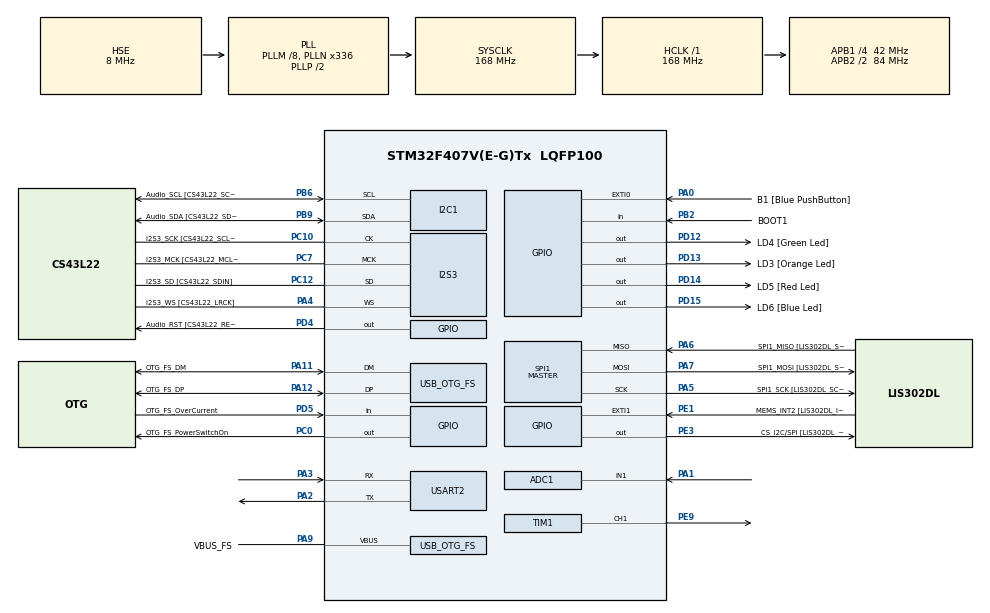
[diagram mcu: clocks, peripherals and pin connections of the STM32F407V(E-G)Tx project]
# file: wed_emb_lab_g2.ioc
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ADC1.Channel-12\#ChannelRegularConversion=ADC_CHANNEL_1
ADC1.ClockPrescaler=ADC_CLOCK_SYNC_PCLK_DIV4
ADC1.ContinuousConvMode=DISABLE
ADC1.DMAContinuousRequests=DISABLE
ADC1.DataAlign=ADC_DATAALIGN_RIGHT
ADC1.DiscontinuousConvMode=DISABLE
ADC1.EOCSelection=ADC_EOC_SINGLE_CONV
ADC1.EnableAnalogWatchDog=false
ADC1.ExternalTrigConv=ADC_SOFTWARE_START
ADC1.ExternalTrigConvEdge=ADC_EXTERNALTRIGCONVEDGE_NONE
ADC1.InjNumberOfConversion=0
ADC1.NbrOfConversion=1
ADC1.NbrOfConversionFlag=1
ADC1.Rank-12\#ChannelRegularConversion=1
ADC1.Resolution=ADC_RESOLUTION_12B
ADC1.SamplingTime-12\#ChannelRegularConversion=ADC_SAMPLETIME_3CYCLES
ADC1.ScanConvMode=DISABLE
ADC1.master=1
FREERTOS.Tasks01=defaultTask,0,128,StartDefaultTask,Default,NULL
I2S3.AudioFreq-Half_Duplex_Master=I2S_AUDIOFREQ_96K
I2S3.ErrorAudioFreq=-2.34 %
I2S3.ErrorAudioFreq-Half_Duplex_Master=0.8 %
I2S3.FullDuplexMode=I2S_FULLDUPLEXMODE_DISABLE
I2S3.Instance=SPI$Index
I2S3.RealAudioFreq=93.75 KHz
I2S3.RealAudioFreq-Half_Duplex_Master=96.774 KHz
I2S3.VirtualMode=I2S_MODE_MASTER
Mcu.Family=STM32F4
Mcu.Name=STM32F407V(E-G)Tx
Mcu.Package=LQFP100
NVIC.OTG_FS_IRQn=true\:5\:0\:false\:false\:true\:true\:true
NVIC.PriorityGroup=NVIC_PRIORITYGROUP_4
PA0-WKUP.GPIO_Label=B1 [Blue PushButton]
PA0-WKUP.GPIO_ModeDefaultEXTI=GPIO_MODE_EVT_RISING
PA0-WKUP.GPIO_PuPd=GPIO_NOPULL
PA0-WKUP.Signal=GPXTI0
PA1.Signal=ADCx_IN1
PA10.GPIO_Label=OTG_FS_ID
PA10.GPIO_Mode=GPIO_MODE_AF_PP
PA10.GPIO_PuPd=GPIO_NOPULL
PA10.GPIO_Speed=GPIO_SPEED_FREQ_LOW
PA10.Signal=USB_OTG_FS_ID
PA11.GPIO_Label=OTG_FS_DM
PA11.GPIO_Mode=GPIO_MODE_AF_PP
PA11.GPIO_PuPd=GPIO_NOPULL
PA11.GPIO_Speed=GPIO_SPEED_FREQ_LOW
PA11.Mode=Host_Only
PA11.Signal=USB_OTG_FS_DM
PA12.GPIO_Label=OTG_FS_DP
PA12.GPIO_Mode=GPIO_MODE_AF_PP
PA12.GPIO_PuPd=GPIO_NOPULL
PA12.GPIO_Speed=GPIO_SPEED_FREQ_LOW
PA12.Mode=Host_Only
PA12.Signal=USB_OTG_FS_DP
PA13.GPIO_Label=SWDIO
PA13.Mode=Serial_Wire
PA13.Signal=SYS_JTMS-SWDIO
PA14.GPIO_Label=SWCLK
PA14.Mode=Serial_Wire
PA14.Signal=SYS_JTCK-SWCLK
PA2.Mode=Asynchronous
PA2.Signal=USART2_TX
PA3.Mode=Asynchronous
PA3.Signal=USART2_RX
PA4.GPIO_Label=I2S3_WS [CS43L22_LRCK]
PA4.GPIO_Mode=GPIO_MODE_AF_PP
PA4.GPIO_PuPd=GPIO_NOPULL
PA4.GPIO_Speed=GPIO_SPEED_FREQ_LOW
PA4.Mode=Half_Duplex_Master
PA4.Signal=I2S3_WS
PA5.GPIO_Label=SPI1_SCK [LIS302DL_SCL/SPC]
PA5.GPIO_Mode=GPIO_MODE_AF_PP
PA5.GPIO_PuPd=GPIO_NOPULL
PA5.GPIO_Speed=GPIO_SPEED_FREQ_LOW
PA5.Mode=Full_Duplex_Master
PA5.Signal=SPI1_SCK
PA6.GPIO_Label=SPI1_MISO [LIS302DL_SDO]
PA6.GPIO_Mode=GPIO_MODE_AF_PP
PA6.GPIO_PuPd=GPIO_NOPULL
PA6.GPIO_Speed=GPIO_SPEED_FREQ_LOW
PA6.Mode=Full_Duplex_Master
PA6.Signal=SPI1_MISO
PA7.GPIO_Label=SPI1_MOSI [LIS302DL_SDA/SDI/SDO]
PA7.GPIO_Mode=GPIO_MODE_AF_PP
PA7.GPIO_PuPd=GPIO_NOPULL
PA7.GPIO_Speed=GPIO_SPEED_FREQ_LOW
PA7.Mode=Full_Duplex_Master
PA7.Signal=SPI1_MOSI
PA9.GPIO_Label=VBUS_FS
PA9.GPIO_Mode=GPIO_MODE_INPUT
PA9.GPIO_PuPd=GPIO_NOPULL
PA9.Mode=Activate_VBUS
PA9.Signal=USB_OTG_FS_VBUS
PB10.GPIO_Label=CLK_IN [MP45DT02_CLK]
PB10.GPIO_Mode=GPIO_MODE_AF_PP
PB10.GPIO_PuPd=GPIO_NOPULL
PB10.GPIO_Speed=GPIO_SPEED_FREQ_LOW
PB10.Signal=I2S2_CK
PB2.GPIO_Label=BOOT1
PB2.GPIO_Mode=GPIO_MODE_INPUT
PB2.GPIO_PuPd=GPIO_NOPULL
PB2.Signal=GPIO_Input
PB3.GPIO_Label=SWO
PB3.Signal=SYS_JTDO-SWO
PB6.GPIO_Label=Audio_SCL [CS43L22_SCL]
PB6.GPIO_Mode=GPIO_MODE_AF_OD
PB6.GPIO_PuPd=GPIO_NOPULL
PB6.GPIO_Speed=GPIO_SPEED_FREQ_LOW
PB6.Mode=I2C
PB6.Signal=I2C1_SCL
PB9.GPIO_Label=Audio_SDA [CS43L22_SDA]
PB9.GPIO_Mode=GPIO_MODE_AF_OD
PB9.GPIO_PuPd=GPIO_NOPULL
PB9.GPIO_Speed=GPIO_SPEED_FREQ_LOW
PB9.Mode=I2C
PB9.Signal=I2C1_SDA
PC0.GPIO_Label=OTG_FS_PowerSwitchOn
PC0.GPIO_PuPd=GPIO_NOPULL
PC0.GPIO_Speed=GPIO_SPEED_FREQ_LOW
PC0.PinState=GPIO_PIN_SET
PC0.Signal=GPIO_Output
PC10.GPIO_Label=I2S3_SCK [CS43L22_SCLK]
PC10.GPIO_Mode=GPIO_MODE_AF_PP
PC10.GPIO_PuPd=GPIO_NOPULL
PC10.GPIO_Speed=GPIO_SPEED_FREQ_LOW
PC10.Mode=Half_Duplex_Master
PC10.Signal=I2S3_CK
PC12.GPIO_Label=I2S3_SD [CS43L22_SDIN]
PC12.GPIO_Mode=GPIO_MODE_AF_PP
PC12.GPIO_PuPd=GPIO_NOPULL
PC12.GPIO_Speed=GPIO_SPEED_FREQ_LOW
PC12.Mode=Half_Duplex_Master
PC12.Signal=I2S3_SD
PC14-OSC32_IN.GPIO_Label=PC14-OSC32_IN
PC14-OSC32_IN.Mode=LSE-External-Oscillator
PC14-OSC32_IN.Signal=RCC_OSC32_IN
PC15-OSC32_OUT.GPIO_Label=PC15-OSC32_OUT
PC15-OSC32_OUT.Mode=LSE-External-Oscillator
PC15-OSC32_OUT.Signal=RCC_OSC32_OUT
PC3.GPIO_Label=PDM_OUT [MP45DT02_DOUT]
PC3.GPIO_Mode=GPIO_MODE_AF_PP
PC3.GPIO_PuPd=GPIO_NOPULL
PC3.GPIO_Speed=GPIO_SPEED_FREQ_LOW
PC3.Signal=I2S2_SD
PC7.GPIO_Label=I2S3_MCK [CS43L22_MCLK]
PC7.GPIO_Mode=GPIO_MODE_AF_PP
PC7.GPIO_PuPd=GPIO_NOPULL
PC7.GPIO_Speed=GPIO_SPEED_FREQ_LOW
PC7.Mode=Master_Clock_Activated
PC7.Signal=I2S3_MCK
PD12.GPIO_Label=LD4 [Green Led]
PD12.GPIO_PuPd=GPIO_NOPULL
PD12.GPIO_Speed=GPIO_SPEED_FREQ_LOW
PD12.Signal=GPIO_Output
PD13.GPIO_Label=LD3 [Orange Led]
PD13.GPIO_PuPd=GPIO_NOPULL
PD13.GPIO_Speed=GPIO_SPEED_FREQ_LOW
PD13.Signal=GPIO_Output
PD14.GPIO_Label=LD5 [Red Led]
PD14.GPIO_PuPd=GPIO_NOPULL
PD14.GPIO_Speed=GPIO_SPEED_FREQ_LOW
PD14.Signal=GPIO_Output
PD15.GPIO_Label=LD6 [Blue Led]
PD15.GPIO_PuPd=GPIO_NOPULL
PD15.GPIO_Speed=GPIO_SPEED_FREQ_LOW
PD15.Signal=GPIO_Output
PD4.GPIO_Label=Audio_RST [CS43L22_RESET]
PD4.GPIO_PuPd=GPIO_NOPULL
PD4.GPIO_Speed=GPIO_SPEED_FREQ_LOW
PD4.Signal=GPIO_Output
PD5.GPIO_Label=OTG_FS_OverCurrent
PD5.GPIO_Mode=GPIO_MODE_INPUT
PD5.GPIO_PuPd=GPIO_NOPULL
PD5.Signal=GPIO_Input
PE1.GPIO_Label=MEMS_INT2 [LIS302DL_INT2]
PE1.GPIO_ModeDefaultEXTI=GPIO_MODE_EVT_RISING
PE1.GPIO_PuPd=GPIO_NOPULL
PE1.Signal=GPXTI1
PE3.GPIO_Label=CS_I2C/SPI [LIS302DL_CS_I2C/SPI]
PE3.GPIO_PuPd=GPIO_NOPULL
PE3.GPIO_Speed=GPIO_SPEED_FREQ_LOW
PE3.Signal=GPIO_Output
PE9.Signal=S_TIM1_CH1
PH0-OSC_IN.GPIO_Label=PH0-OSC_IN
PH0-OSC_IN.Mode=HSE-External-Oscillator
PH0-OSC_IN.Signal=RCC_OSC_IN
PH1-OSC_OUT.GPIO_Label=PH1-OSC_OUT
PH1-OSC_OUT.Mode=HSE-External-Oscillator
PH1-OSC_OUT.Signal=RCC_OSC_OUT
ProjectManager.HeapSize=0x200
ProjectManager.StackSize=0x400
ProjectManager.TargetToolchain=SW4STM32
RCC.48MHZClocksFreq_Value=48000000
RCC.AHBFreq_Value=168000000
RCC.APB1CLKDivider=RCC_HCLK_DIV4
RCC.APB1Freq_Value=42000000
RCC.APB1TimFreq_Value=84000000
RCC.APB2CLKDivider=RCC_HCLK_DIV2
RCC.APB2Freq_Value=84000000
RCC.APB2TimFreq_Value=168000000
RCC.CortexFreq_Value=168000000
RCC.HCLKFreq_Value=168000000
RCC.HSE_VALUE=8000000
RCC.HSI_VALUE=16000000
RCC.PLLM=8
RCC.PLLN=336
RCC.PLLQ=7
RCC.SYSCLKFreq_VALUE=168000000
RCC.SYSCLKSource=RCC_SYSCLKSOURCE_PLLCLK
RCC.VCOOutputFreq_Value=336000000
SH.ADCx_IN1.0=ADC1_IN1,IN1
SH.S_TIM1_CH1.0=TIM1_CH1,PWM Generation1 CH1
SPI1.BaudRatePrescaler-Full_Duplex_Master=SPI_BAUDRATEPRESCALER_2
SPI1.CalculateBaudRate-Full_Duplex_Master=42.0 MBits/s
SPI1.Direction=SPI_DIRECTION_2LINES
SPI1.Mode=SPI_MODE_MASTER
SPI1.Mode-Full_Duplex_Master=SPI_MODE_MASTER
SPI1.VirtualType=VM_MASTER
TIM1.Channel-PWM\ Generation1\ CH1=TIM_CHANNEL_1
TIM1.Period=10000
TIM1.Prescaler=335
TIM1.Pulse-PWM\ Generation1\ CH1=300
USART2.VirtualMode=VM_ASYNC
USB_HOST.BSP.number=1
USB_HOST.USBH_HandleTypeDef-CDC_FS=hUsbHostFS
USB_HOST.VirtualModeFS=Cdc
USB_HOST0.BSP.STBoard=false
USB_HOST0.BSP.api=Unknown
USB_HOST0.BSP.i2caddr=0
USB_HOST0.BSP.i2creg=0
USB_HOST0.BSP.instance=PC0
USB_HOST0.BSP.ip=GPIO
USB_HOST0.BSP.mode=Output
USB_HOST0.BSP.name=Drive_VBUS_FS
USB_HOST0.BSP.solution=PC0
USB_OTG_FS.VirtualMode=Host_Only
USB_OTG_FS.phy_itface=HCD_PHY_EMBEDDED
VP_FREERTOS_VS_ENABLE.Mode=Enabled
VP_RTC_VS_RTC_Activate.Mode=RTC_Enabled
VP_RTC_VS_RTC_Calendar.Mode=RTC_Calendar
VP_TIM1_VS_ClockSourceINT.Mode=Internal
VP_USB_HOST_VS_USB_HOST_CDC_FS.Mode=CDC_FS
board=STM32F4DISCOVERY

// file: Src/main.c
/**
 ******************************************************************************
 * @file           : main.c
 * @brief          : Main program body
 ******************************************************************************
 * This notice applies to any and all portions of this file
 * that are not between comment pairs USER CODE BEGIN and
 * USER CODE END. Other portions of this file, whether
 * inserted by the user or by software development tools
 * are owned by their respective copyright owners.
 *
 * Copyright (c) 2018 STMicroelectronics International N.V.
 * All rights reserved.
 *
 * Redistribution and use in source and binary forms, with or without
 * modification, are permitted, provided that the following conditions are met:
 *
 * 1. Redistribution of source code must retain the above copyright notice,
 *    this list of conditions and the following disclaimer.
 * 2. Redistributions in binary form must reproduce the above copyright notice,
 *    this list of conditions and the following disclaimer in the documentation
 *    and/or other materials provided with the distribution.
 * 3. Neither the name of STMicroelectronics nor the names of other
 *    contributors to this software may be used to endorse or promote products
 *    derived from this software without specific written permission.
 * 4. This software, including modifications and/or derivative works of this
 *    software, must execute solely and exclusively on microcontroller or
 *    microprocessor devices manufactured by or for STMicroelectronics.
 * 5. Redistribution and use of this software other than as permitted under
 *    this license is void and will automatically terminate your rights under
 *    this license.
 *
 * THIS SOFTWARE IS PROVIDED BY STMICROELECTRONICS AND CONTRIBUTORS "AS IS"
 * AND ANY EXPRESS, IMPLIED OR STATUTORY WARRANTIES, INCLUDING, BUT NOT
 * LIMITED TO, THE IMPLIED WARRANTIES OF MERCHANTABILITY, FITNESS FOR A
 * PARTICULAR PURPOSE AND NON-INFRINGEMENT OF THIRD PARTY INTELLECTUAL PROPERTY
 * RIGHTS ARE DISCLAIMED TO THE FULLEST EXTENT PERMITTED BY LAW. IN NO EVENT
 * SHALL STMICROELECTRONICS OR CONTRIBUTORS BE LIABLE FOR ANY DIRECT, INDIRECT,
 * INCIDENTAL, SPECIAL, EXEMPLARY, OR CONSEQUENTIAL DAMAGES (INCLUDING, BUT NOT
 * LIMITED TO, PROCUREMENT OF SUBSTITUTE GOODS OR SERVICES; LOSS OF USE, DATA,
 * OR PROFITS; OR BUSINESS INTERRUPTION) HOWEVER CAUSED AND ON ANY THEORY OF
 * LIABILITY, WHETHER IN CONTRACT, STRICT LIABILITY, OR TORT (INCLUDING
 * NEGLIGENCE OR OTHERWISE) ARISING IN ANY WAY OUT OF THE USE OF THIS SOFTWARE,
 * EVEN IF ADVISED OF THE POSSIBILITY OF SUCH DAMAGE.
 *
 ******************************************************************************
 */
#include "main.h"
#include "stm32f4xx_hal.h"
#include "cmsis_os.h"
#include "usb_host.h"

ADC_HandleTypeDef hadc1;

I2C_HandleTypeDef hi2c1;

I2S_HandleTypeDef hi2s3;

RTC_HandleTypeDef hrtc;

SPI_HandleTypeDef hspi1;

TIM_HandleTypeDef htim1;

UART_HandleTypeDef huart2;

osThreadId defaultTaskHandle;

/* USER CODE BEGIN PV */
/* Private variables ---------------------------------------------------------*/

/* USER CODE END PV */

void SystemClock_Config(void);
static void MX_GPIO_Init(void);
static void MX_I2C1_Init(void);
static void MX_I2S3_Init(void);
static void MX_SPI1_Init(void);
static void MX_USART2_UART_Init(void);
static void MX_RTC_Init(void);
static void MX_TIM1_Init(void);
static void MX_ADC1_Init(void);
void StartDefaultTask(void const * argument);

void HAL_TIM_MspPostInit(TIM_HandleTypeDef *htim);

/* USER CODE BEGIN PFP */
/* Private function prototypes -----------------------------------------------*/

/* USER CODE END PFP */

int main(void) {

	/* MCU Configuration----------------------------------------------------------*/

	/* Reset of all peripherals, Initializes the Flash interface and the Systick. */
	HAL_Init();

	/* Configure the system clock */
	SystemClock_Config();

	/* Initialize all configured peripherals */
	MX_GPIO_Init();
	MX_I2C1_Init();
	MX_I2S3_Init();
	MX_SPI1_Init();
	MX_USART2_UART_Init();
	MX_RTC_Init();
	MX_TIM1_Init();
	MX_ADC1_Init();

	/* Create the thread(s) */
	/* definition and creation of defaultTask */
	osThreadDef(defaultTask, StartDefaultTask, osPriorityNormal, 0, 128);
	defaultTaskHandle = osThreadCreate(osThread(defaultTask), NULL);

	/* Start scheduler */
	osKernelStart();

	/* We should never get here as control is now taken by the scheduler */

	/* Infinite loop */
	while (1) {

	}

}

void SystemClock_Config(void) {

	RCC_OscInitTypeDef RCC_OscInitStruct;
	RCC_ClkInitTypeDef RCC_ClkInitStruct;
	RCC_PeriphCLKInitTypeDef PeriphClkInitStruct;

	/**Configure the main internal regulator output voltage
	 */
	__HAL_RCC_PWR_CLK_ENABLE()
	;

	__HAL_PWR_VOLTAGESCALING_CONFIG(PWR_REGULATOR_VOLTAGE_SCALE1);

	/**Initializes the CPU, AHB and APB busses clocks
	 */
	RCC_OscInitStruct.OscillatorType = RCC_OSCILLATORTYPE_LSI
			| RCC_OSCILLATORTYPE_HSE;
	RCC_OscInitStruct.HSEState = RCC_HSE_ON;
	RCC_OscInitStruct.LSIState = RCC_LSI_ON;
	RCC_OscInitStruct.PLL.PLLState = RCC_PLL_ON;
	RCC_OscInitStruct.PLL.PLLSource = RCC_PLLSOURCE_HSE;
	RCC_OscInitStruct.PLL.PLLM = 8;
	RCC_OscInitStruct.PLL.PLLN = 336;
	RCC_OscInitStruct.PLL.PLLP = RCC_PLLP_DIV2;
	RCC_OscInitStruct.PLL.PLLQ = 7;
	if (HAL_RCC_OscConfig(&RCC_OscInitStruct) != HAL_OK) {
		_Error_Handler(__FILE__, __LINE__);
	}

	/**Initializes the CPU, AHB and APB busses clocks
	 */
	RCC_ClkInitStruct.ClockType = RCC_CLOCKTYPE_HCLK | RCC_CLOCKTYPE_SYSCLK
			| RCC_CLOCKTYPE_PCLK1 | RCC_CLOCKTYPE_PCLK2;
	RCC_ClkInitStruct.SYSCLKSource = RCC_SYSCLKSOURCE_PLLCLK;
	RCC_ClkInitStruct.AHBCLKDivider = RCC_SYSCLK_DIV1;
	RCC_ClkInitStruct.APB1CLKDivider = RCC_HCLK_DIV4;
	RCC_ClkInitStruct.APB2CLKDivider = RCC_HCLK_DIV2;

	if (HAL_RCC_ClockConfig(&RCC_ClkInitStruct, FLASH_LATENCY_5) != HAL_OK) {
		_Error_Handler(__FILE__, __LINE__);
	}

	PeriphClkInitStruct.PeriphClockSelection = RCC_PERIPHCLK_I2S
			| RCC_PERIPHCLK_RTC;
	PeriphClkInitStruct.PLLI2S.PLLI2SN = 192;
	PeriphClkInitStruct.PLLI2S.PLLI2SR = 2;
	PeriphClkInitStruct.RTCClockSelection = RCC_RTCCLKSOURCE_LSI;
	if (HAL_RCCEx_PeriphCLKConfig(&PeriphClkInitStruct) != HAL_OK) {
		_Error_Handler(__FILE__, __LINE__);
	}

	/**Configure the Systick interrupt time
	 */
	HAL_SYSTICK_Config(HAL_RCC_GetHCLKFreq() / 1000);

	/**Configure the Systick
	 */
	HAL_SYSTICK_CLKSourceConfig(SYSTICK_CLKSOURCE_HCLK);

	/* SysTick_IRQn interrupt configuration */
	HAL_NVIC_SetPriority(SysTick_IRQn, 15, 0);
}

/* ADC1 init function */
static void MX_ADC1_Init(void) {

	ADC_ChannelConfTypeDef sConfig;

	/**Configure the global features of the ADC (Clock, Resolution, Data Alignment and number of conversion)
	 */
	hadc1.Instance = ADC1;
	hadc1.Init.ClockPrescaler = ADC_CLOCK_SYNC_PCLK_DIV4;
	hadc1.Init.Resolution = ADC_RESOLUTION_12B;
	hadc1.Init.ScanConvMode = DISABLE;
	hadc1.Init.ContinuousConvMode = DISABLE;
	hadc1.Init.DiscontinuousConvMode = DISABLE;
	hadc1.Init.ExternalTrigConvEdge = ADC_EXTERNALTRIGCONVEDGE_NONE;
	hadc1.Init.ExternalTrigConv = ADC_SOFTWARE_START;
	hadc1.Init.DataAlign = ADC_DATAALIGN_RIGHT;
	hadc1.Init.NbrOfConversion = 1;
	hadc1.Init.DMAContinuousRequests = DISABLE;
	hadc1.Init.EOCSelection = ADC_EOC_SINGLE_CONV;
	if (HAL_ADC_Init(&hadc1) != HAL_OK) {
		_Error_Handler(__FILE__, __LINE__);
	}

	/**Configure for the selected ADC regular channel its corresponding rank in the sequencer and its sample time.
	 */
	sConfig.Channel = ADC_CHANNEL_1;
	sConfig.Rank = 1;
	sConfig.SamplingTime = ADC_SAMPLETIME_3CYCLES;
	if (HAL_ADC_ConfigChannel(&hadc1, &sConfig) != HAL_OK) {
		_Error_Handler(__FILE__, __LINE__);
	}

}

/* I2C1 init function */
static void MX_I2C1_Init(void) {

	hi2c1.Instance = I2C1;
	hi2c1.Init.ClockSpeed = 100000;
	hi2c1.Init.DutyCycle = I2C_DUTYCYCLE_2;
	hi2c1.Init.OwnAddress1 = 0;
	hi2c1.Init.AddressingMode = I2C_ADDRESSINGMODE_7BIT;
	hi2c1.Init.DualAddressMode = I2C_DUALADDRESS_DISABLE;
	hi2c1.Init.OwnAddress2 = 0;
	hi2c1.Init.GeneralCallMode = I2C_GENERALCALL_DISABLE;
	hi2c1.Init.NoStretchMode = I2C_NOSTRETCH_DISABLE;
	if (HAL_I2C_Init(&hi2c1) != HAL_OK) {
		_Error_Handler(__FILE__, __LINE__);
	}

}

/* I2S3 init function */
static void MX_I2S3_Init(void) {

	hi2s3.Instance = SPI3;
	hi2s3.Init.Mode = I2S_MODE_MASTER_TX;
	hi2s3.Init.Standard = I2S_STANDARD_PHILIPS;
	hi2s3.Init.DataFormat = I2S_DATAFORMAT_16B;
	hi2s3.Init.MCLKOutput = I2S_MCLKOUTPUT_ENABLE;
	hi2s3.Init.AudioFreq = I2S_AUDIOFREQ_96K;
	hi2s3.Init.CPOL = I2S_CPOL_LOW;
	hi2s3.Init.ClockSource = I2S_CLOCK_PLL;
	hi2s3.Init.FullDuplexMode = I2S_FULLDUPLEXMODE_DISABLE;
	if (HAL_I2S_Init(&hi2s3) != HAL_OK) {
		_Error_Handler(__FILE__, __LINE__);
	}

}

/* RTC init function */
static void MX_RTC_Init(void) {

	RTC_TimeTypeDef sTime;
	RTC_DateTypeDef sDate;

	/**Initialize RTC Only
	 */
	hrtc.Instance = RTC;
	hrtc.Init.HourFormat = RTC_HOURFORMAT_24;
	hrtc.Init.AsynchPrediv = 127;
	hrtc.Init.SynchPrediv = 255;
	hrtc.Init.OutPut = RTC_OUTPUT_DISABLE;
	hrtc.Init.OutPutPolarity = RTC_OUTPUT_POLARITY_HIGH;
	hrtc.Init.OutPutType = RTC_OUTPUT_TYPE_OPENDRAIN;
	if (HAL_RTC_Init(&hrtc) != HAL_OK) {
		_Error_Handler(__FILE__, __LINE__);
	}

	/**Initialize RTC and set the Time and Date
	 */
	sTime.Hours = 0x0;
	sTime.Minutes = 0x0;
	sTime.Seconds = 0x0;
	sTime.DayLightSaving = RTC_DAYLIGHTSAVING_NONE;
	sTime.StoreOperation = RTC_STOREOPERATION_RESET;
	if (HAL_RTC_SetTime(&hrtc, &sTime, RTC_FORMAT_BCD) != HAL_OK) {
		_Error_Handler(__FILE__, __LINE__);
	}

	sDate.WeekDay = RTC_WEEKDAY_MONDAY;
	sDate.Month = RTC_MONTH_JANUARY;
	sDate.Date = 0x1;
	sDate.Year = 0x0;

	if (HAL_RTC_SetDate(&hrtc, &sDate, RTC_FORMAT_BCD) != HAL_OK) {
		_Error_Handler(__FILE__, __LINE__);
	}

}

/* SPI1 init function */
static void MX_SPI1_Init(void) {

	/* SPI1 parameter configuration*/
	hspi1.Instance = SPI1;
	hspi1.Init.Mode = SPI_MODE_MASTER;
	hspi1.Init.Direction = SPI_DIRECTION_2LINES;
	hspi1.Init.DataSize = SPI_DATASIZE_8BIT;
	hspi1.Init.CLKPolarity = SPI_POLARITY_LOW;
	hspi1.Init.CLKPhase = SPI_PHASE_1EDGE;
	hspi1.Init.NSS = SPI_NSS_SOFT;
	hspi1.Init.BaudRatePrescaler = SPI_BAUDRATEPRESCALER_2;
	hspi1.Init.FirstBit = SPI_FIRSTBIT_MSB;
	hspi1.Init.TIMode = SPI_TIMODE_DISABLE;
	hspi1.Init.CRCCalculation = SPI_CRCCALCULATION_DISABLE;
	hspi1.Init.CRCPolynomial = 10;
	if (HAL_SPI_Init(&hspi1) != HAL_OK) {
		_Error_Handler(__FILE__, __LINE__);
	}

}

/* TIM1 init function */
static void MX_TIM1_Init(void) {

	TIM_ClockConfigTypeDef sClockSourceConfig;
	TIM_MasterConfigTypeDef sMasterConfig;
	TIM_OC_InitTypeDef sConfigOC;
	TIM_BreakDeadTimeConfigTypeDef sBreakDeadTimeConfig;

	htim1.Instance = TIM1;
	htim1.Init.Prescaler = 335;
	htim1.Init.CounterMode = TIM_COUNTERMODE_UP;
	htim1.Init.Period = 10000;
	htim1.Init.ClockDivision = TIM_CLOCKDIVISION_DIV1;
	htim1.Init.RepetitionCounter = 0;
	if (HAL_TIM_Base_Init(&htim1) != HAL_OK) {
		_Error_Handler(__FILE__, __LINE__);
	}

	sClockSourceConfig.ClockSource = TIM_CLOCKSOURCE_INTERNAL;
	if (HAL_TIM_ConfigClockSource(&htim1, &sClockSourceConfig) != HAL_OK) {
		_Error_Handler(__FILE__, __LINE__);
	}

	if (HAL_TIM_PWM_Init(&htim1) != HAL_OK) {
		_Error_Handler(__FILE__, __LINE__);
	}

	sMasterConfig.MasterOutputTrigger = TIM_TRGO_RESET;
	sMasterConfig.MasterSlaveMode = TIM_MASTERSLAVEMODE_DISABLE;
	if (HAL_TIMEx_MasterConfigSynchronization(&htim1, &sMasterConfig)
			!= HAL_OK) {
		_Error_Handler(__FILE__, __LINE__);
	}

	sConfigOC.OCMode = TIM_OCMODE_PWM1;
	sConfigOC.Pulse = 300;
	sConfigOC.OCPolarity = TIM_OCPOLARITY_HIGH;
	sConfigOC.OCNPolarity = TIM_OCNPOLARITY_HIGH;
	sConfigOC.OCFastMode = TIM_OCFAST_DISABLE;
	sConfigOC.OCIdleState = TIM_OCIDLESTATE_RESET;
	sConfigOC.OCNIdleState = TIM_OCNIDLESTATE_RESET;
	if (HAL_TIM_PWM_ConfigChannel(&htim1, &sConfigOC, TIM_CHANNEL_1)
			!= HAL_OK) {
		_Error_Handler(__FILE__, __LINE__);
	}

	sBreakDeadTimeConfig.OffStateRunMode = TIM_OSSR_DISABLE;
	sBreakDeadTimeConfig.OffStateIDLEMode = TIM_OSSI_DISABLE;
	sBreakDeadTimeConfig.LockLevel = TIM_LOCKLEVEL_OFF;
	sBreakDeadTimeConfig.DeadTime = 0;
	sBreakDeadTimeConfig.BreakState = TIM_BREAK_DISABLE;
	sBreakDeadTimeConfig.BreakPolarity = TIM_BREAKPOLARITY_HIGH;
	sBreakDeadTimeConfig.AutomaticOutput = TIM_AUTOMATICOUTPUT_DISABLE;
	if (HAL_TIMEx_ConfigBreakDeadTime(&htim1, &sBreakDeadTimeConfig)
			!= HAL_OK) {
		_Error_Handler(__FILE__, __LINE__);
	}

	HAL_TIM_MspPostInit(&htim1);

}

/* USART2 init function */
static void MX_USART2_UART_Init(void) {

	huart2.Instance = USART2;
	huart2.Init.BaudRate = 115200;
	huart2.Init.WordLength = UART_WORDLENGTH_8B;
	huart2.Init.StopBits = UART_STOPBITS_1;
	huart2.Init.Parity = UART_PARITY_NONE;
	huart2.Init.Mode = UART_MODE_TX_RX;
	huart2.Init.HwFlowCtl = UART_HWCONTROL_NONE;
	huart2.Init.OverSampling = UART_OVERSAMPLING_16;
	if (HAL_UART_Init(&huart2) != HAL_OK) {
		_Error_Handler(__FILE__, __LINE__);
	}

}

/** Configure pins as
 * Analog
 * Input
 * Output
 * EVENT_OUT
 * EXTI
 PC3   ------> I2S2_SD
 PB10   ------> I2S2_CK
 */
static void MX_GPIO_Init(void) {

	GPIO_InitTypeDef GPIO_InitStruct;

	/* GPIO Ports Clock Enable */
	__HAL_RCC_GPIOE_CLK_ENABLE()
	;
	__HAL_RCC_GPIOC_CLK_ENABLE()
	;
	__HAL_RCC_GPIOH_CLK_ENABLE()
	;
	__HAL_RCC_GPIOA_CLK_ENABLE()
	;
	__HAL_RCC_GPIOB_CLK_ENABLE()
	;
	__HAL_RCC_GPIOD_CLK_ENABLE()
	;

	/*Configure GPIO pin Output Level */
	HAL_GPIO_WritePin(CS_I2C_SPI_GPIO_Port, CS_I2C_SPI_Pin, GPIO_PIN_RESET);

	/*Configure GPIO pin Output Level */
	HAL_GPIO_WritePin(OTG_FS_PowerSwitchOn_GPIO_Port, OTG_FS_PowerSwitchOn_Pin,
			GPIO_PIN_SET);

	/*Configure GPIO pin Output Level */
	HAL_GPIO_WritePin(GPIOD,
	LD4_Pin | LD3_Pin | LD5_Pin | LD6_Pin | Audio_RST_Pin, GPIO_PIN_RESET);

	/*Configure GPIO pin : CS_I2C_SPI_Pin */
	GPIO_InitStruct.Pin = CS_I2C_SPI_Pin;
	GPIO_InitStruct.Mode = GPIO_MODE_OUTPUT_PP;
	GPIO_InitStruct.Pull = GPIO_NOPULL;
	GPIO_InitStruct.Speed = GPIO_SPEED_FREQ_LOW;
	HAL_GPIO_Init(CS_I2C_SPI_GPIO_Port, &GPIO_InitStruct);

	/*Configure GPIO pin : OTG_FS_PowerSwitchOn_Pin */
	GPIO_InitStruct.Pin = OTG_FS_PowerSwitchOn_Pin;
	GPIO_InitStruct.Mode = GPIO_MODE_OUTPUT_PP;
	GPIO_InitStruct.Pull = GPIO_NOPULL;
	GPIO_InitStruct.Speed = GPIO_SPEED_FREQ_LOW;
	HAL_GPIO_Init(OTG_FS_PowerSwitchOn_GPIO_Port, &GPIO_InitStruct);

	/*Configure GPIO pin : PDM_OUT_Pin */
	GPIO_InitStruct.Pin = PDM_OUT_Pin;
	GPIO_InitStruct.Mode = GPIO_MODE_AF_PP;
	GPIO_InitStruct.Pull = GPIO_NOPULL;
	GPIO_InitStruct.Speed = GPIO_SPEED_FREQ_LOW;
	GPIO_InitStruct.Alternate = GPIO_AF5_SPI2;
	HAL_GPIO_Init(PDM_OUT_GPIO_Port, &GPIO_InitStruct);

	/*Configure GPIO pin : B1_Pin */
	GPIO_InitStruct.Pin = B1_Pin;
	GPIO_InitStruct.Mode = GPIO_MODE_EVT_RISING;
	GPIO_InitStruct.Pull = GPIO_NOPULL;
	HAL_GPIO_Init(B1_GPIO_Port, &GPIO_InitStruct);

	/*Configure GPIO pin : BOOT1_Pin */
	GPIO_InitStruct.Pin = BOOT1_Pin;
	GPIO_InitStruct.Mode = GPIO_MODE_INPUT;
	GPIO_InitStruct.Pull = GPIO_NOPULL;
	HAL_GPIO_Init(BOOT1_GPIO_Port, &GPIO_InitStruct);

	/*Configure GPIO pin : CLK_IN_Pin */
	GPIO_InitStruct.Pin = CLK_IN_Pin;
	GPIO_InitStruct.Mode = GPIO_MODE_AF_PP;
	GPIO_InitStruct.Pull = GPIO_NOPULL;
	GPIO_InitStruct.Speed = GPIO_SPEED_FREQ_LOW;
	GPIO_InitStruct.Alternate = GPIO_AF5_SPI2;
	HAL_GPIO_Init(CLK_IN_GPIO_Port, &GPIO_InitStruct);

	/*Configure GPIO pins : LD4_Pin LD3_Pin LD5_Pin LD6_Pin
	 Audio_RST_Pin */
	GPIO_InitStruct.Pin = LD4_Pin | LD3_Pin | LD5_Pin | LD6_Pin | Audio_RST_Pin;
	GPIO_InitStruct.Mode = GPIO_MODE_OUTPUT_PP;
	GPIO_InitStruct.Pull = GPIO_NOPULL;
	GPIO_InitStruct.Speed = GPIO_SPEED_FREQ_LOW;
	HAL_GPIO_Init(GPIOD, &GPIO_InitStruct);

	/*Configure GPIO pin : OTG_FS_OverCurrent_Pin */
	GPIO_InitStruct.Pin = OTG_FS_OverCurrent_Pin;
	GPIO_InitStruct.Mode = GPIO_MODE_INPUT;
	GPIO_InitStruct.Pull = GPIO_NOPULL;
	HAL_GPIO_Init(OTG_FS_OverCurrent_GPIO_Port, &GPIO_InitStruct);

	/*Configure GPIO pin : MEMS_INT2_Pin */
	GPIO_InitStruct.Pin = MEMS_INT2_Pin;
	GPIO_InitStruct.Mode = GPIO_MODE_EVT_RISING;
	GPIO_InitStruct.Pull = GPIO_NOPULL;
	HAL_GPIO_Init(MEMS_INT2_GPIO_Port, &GPIO_InitStruct);

}

/* USER CODE BEGIN 4 */
int cmp = 300;
int dirt_dry = 0; //0-4095
int wet_to_water = 99;
int th = 24, tm = 0;
int pass_sec = 0;
int t_sec = 0;
int ah = 1, at = 1;
int watering = 0;
int W = 0;
char last = 'F';
void uart() {
	char buf[20];
	uint16_t adc = 0;
	for (;;) {
		HAL_ADC_Start(&hadc1);
		if (HAL_ADC_PollForConversion(&hadc1, 1000) == HAL_OK) {
			adc = HAL_ADC_GetValue(&hadc1);
		}
		dirt_dry = adc;
		if (HAL_UART_Receive(&huart2, buf, 1, 100) == HAL_OK) {
			if (buf[0] == '.') {
				__HAL_TIM_SET_COMPARE(&htim1, TIM_CHANNEL_1, 0);
			} else if (buf[0] == 'f') {
				W = 1;
			} else if (buf[0] == 'l') {
				char v[20];
				int vn = 0;
				while (1) {
					if (HAL_UART_Receive(&huart2, buf, 1, 100) == HAL_OK) {
						if (buf[0] == ' ') {
							v[vn] = 0;
							break;
						}
						v[vn++] = buf[0];
					}
				}
				sscanf(v, "%d", &wet_to_water);
			} else if (buf[0] == 'h') {
				char v[20];
				int vn = 0;
				while (1) {
					if (HAL_UART_Receive(&huart2, buf, 1, 100) == HAL_OK) {
						if (buf[0] == ' ') {
							v[vn] = 0;
							break;
						}
						v[vn++] = buf[0];
					}
				}
				sscanf(v, "%d", &th);
			} else if (buf[0] == 'm') {
				char v[20];
				int vn = 0;
				while (1) {
					if (HAL_UART_Receive(&huart2, buf, 1, 100) == HAL_OK) {
						if (buf[0] == ' ') {
							v[vn] = 0;
							break;
						}
						v[vn++] = buf[0];
					}
				}
				sscanf(v, "%d", &tm);
			} else if (buf[0] == 'a') {
				if (HAL_UART_Receive(&huart2, buf, 2, 100) == HAL_OK) {
					if (buf[0] == 'h') {
						ah = buf[1] - '0';
					} else {
						at = buf[1] - '0';
					}
				}
			}
		}

		if (W == 1 && last != 'W') {
			buf[0] = 'W';
			HAL_UART_Transmit(&huart2, buf, 1, 100);
			last = 'W';
		} else if (W == 0 && last != 'F') {
			buf[0] = 'F';
			HAL_UART_Transmit(&huart2, buf, 1, 100);
			last = 'F';
		}

		if (t_sec >= 2) {
			t_sec = 0;
			int len = sprintf(buf, "%d+%d+%d+%d+%d+%d+%d ",
					(4095 - dirt_dry) * 100 / 4095, th, tm, ah, at,
					wet_to_water, watering);
			HAL_UART_Transmit(&huart2, buf, len, 100);
		}
	}
}
void water() {
	if (watering == 0) {
		HAL_GPIO_TogglePin(GPIOD, 1 << 15);
		watering = 1;
		pass_sec = 0;
		for (cmp = 300; cmp <= 900; cmp += 10) {
			__HAL_TIM_SET_COMPARE(&htim1, TIM_CHANNEL_1, cmp);
			osDelay(100);
		}
		osDelay(3000);
		for (cmp = 900; cmp >= 300; cmp -= 10) {
			__HAL_TIM_SET_COMPARE(&htim1, TIM_CHANNEL_1, cmp);
			osDelay(100);
		}
		__HAL_TIM_SET_COMPARE(&htim1, TIM_CHANNEL_1, 0);
		watering = 0;
		W = 0;
		HAL_GPIO_TogglePin(GPIOD, 1 << 15);
	}
}
void counter() {
	for (;;) {
		osDelay(1000);
		pass_sec++;
		t_sec++;
		if (ah == 1 || at == 1) {
			int dry_to_water = (100 - wet_to_water) * 4095 / 100;
			if ((dirt_dry > dry_to_water || ah == 0)
					&& (at == 0 || pass_sec >= th * 60 * 60 + tm * 60)) {
				W = 1;
			}
		}
	}
}
/* USER CODE END 4 */

/* StartDefaultTask function */
void StartDefaultTask(void const * argument) {
	/* init code for USB_HOST */
	MX_USB_HOST_Init();

	/* USER CODE BEGIN 5 */
	HAL_TIM_Base_Start(&htim1);
	HAL_TIM_PWM_Start(&htim1, TIM_CHANNEL_1);
	osThreadDef(uartT, uart, osPriorityNormal, 0, 128);
	osThreadId uartH = osThreadCreate(osThread(uartT), NULL);
	osThreadDef(counterT, counter, osPriorityNormal, 0, 128);
	osThreadId counterH = osThreadCreate(osThread(counterT), NULL);
	char db = 0;
	osDelay(3000);
	__HAL_TIM_SET_COMPARE(&htim1, TIM_CHANNEL_1, 0);
	HAL_GPIO_TogglePin(GPIOD, 1 << 13);
	/* Infinite loop */
	for (;;) {
		if (HAL_GPIO_ReadPin(GPIOA, 1)) {
			if (db == 0) {
				db = 1;
				W = 1;
			}
		} else {
			db = 0;
		}

		if (W == 1) {
			water();
		}
		osDelay(100);
	}
	/* USER CODE END 5 */
}

void _Error_Handler(char *file, int line) {
	while (1) {
	}
}

/************************ (C) COPYRIGHT STMicroelectronics *****END OF FILE****/
